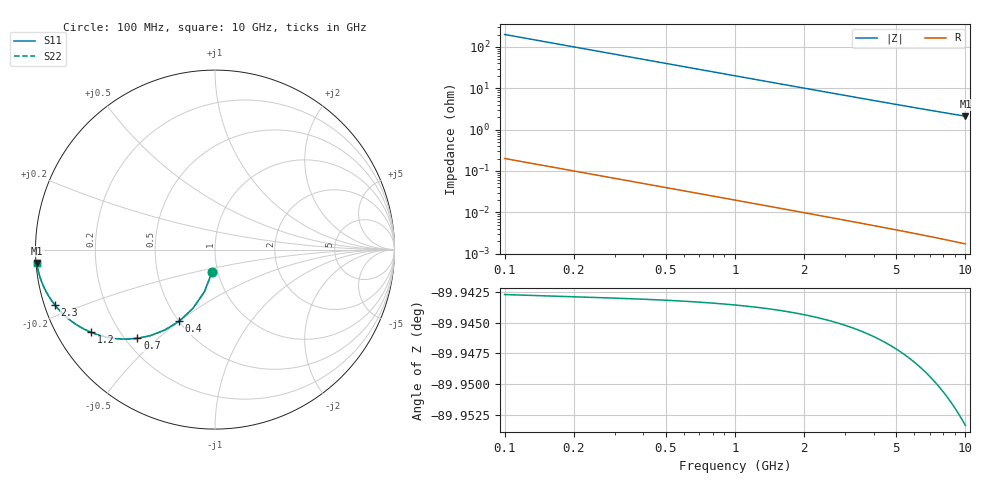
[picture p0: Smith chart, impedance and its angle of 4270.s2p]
# Hz S RI R 50.00
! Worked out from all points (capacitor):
!   100 points, 100 MHz to 10 GHz, reference 50 ohm
!   read as one part in shunt: C = 7.94 pF near 100 MHz
!   lowest |Z| = 2.12 ohm at 10 GHz (marker M1)
!   S11 on the Smith chart (normalised r, x): 100 MHz: 0.94, -0.23; 400 MHz: 0.50, -0.50; 700 MHz: 0.25, -0.43; 1.2 GHz: 0.10, -0.30; 2.3 GHz: 0.03, -0.17; 10 GHz: 0.00, -0.04
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1e8  -0.0154 -0.1227  0.9846 -0.1228  0.9846 -0.1228  -0.0154 -0.1227
2e8  -0.0587 -0.2345  0.9412 -0.2347  0.9412 -0.2347  -0.0587 -0.2345
3e8  -0.1229 -0.3277  0.877 -0.328  0.877 -0.328  -0.1229 -0.3277
4e8  -0.1993 -0.3988  0.8006 -0.3992  0.8006 -0.3992  -0.1993 -0.3988
5e8  -0.2799 -0.4482  0.72 -0.4487  0.72 -0.4487  -0.2799 -0.4482
6e8  -0.3588 -0.4789  0.6412 -0.4794  0.6412 -0.4794  -0.3588 -0.4789
7e8  -0.4322 -0.4945  0.5678 -0.4952  0.5678 -0.4952  -0.4322 -0.4945
9e8  -0.5569 -0.4958  0.443 -0.4967  0.443 -0.4967  -0.5569 -0.4958
1e9  -0.608 -0.4872  0.3919 -0.4882  0.3919 -0.4882  -0.608 -0.4872
1.2e9  -0.6906 -0.4612  0.3094 -0.4623  0.3094 -0.4623  -0.6906 -0.4612
1.3e9  -0.7236 -0.4461  0.2764 -0.4473  0.2764 -0.4473  -0.7236 -0.4461
1.5e9  -0.7769 -0.4151  0.223 -0.4165  0.223 -0.4165  -0.7769 -0.4151
1.8e9  -0.8336 -0.3711  0.1664 -0.3728  0.1664 -0.3728  -0.8336 -0.3711
2e9  -0.8607 -0.3447  0.1392 -0.3467  0.1392 -0.3467  -0.8607 -0.3447
2.3e9  -0.8909 -0.3102  0.1091 -0.3124  0.1091 -0.3124  -0.8909 -0.3102
2.8e9  -0.9235 -0.2638  0.0764 -0.2665  0.0764 -0.2665  -0.9235 -0.2638
3.4e9  -0.9468 -0.2223  0.0532 -0.2256  0.0532 -0.2256  -0.9468 -0.2223
4.2e9  -0.9644 -0.1827  0.0356 -0.1868  0.0356 -0.1868  -0.9644 -0.1827
5.1e9  -0.9756 -0.1513  0.0244 -0.1563  0.0244 -0.1563  -0.9756 -0.1513
6.7e9  -0.9857 -0.1148  0.0142 -0.1214  0.0142 -0.1214  -0.9857 -0.1148
8.4e9  -0.9909 -0.0902  0.00905 -0.0986  0.00905 -0.0986  -0.9909 -0.0902
1e10  -0.9936 -0.074  0.00634 -0.0841  0.00634 -0.0841  -0.9936 -0.074
